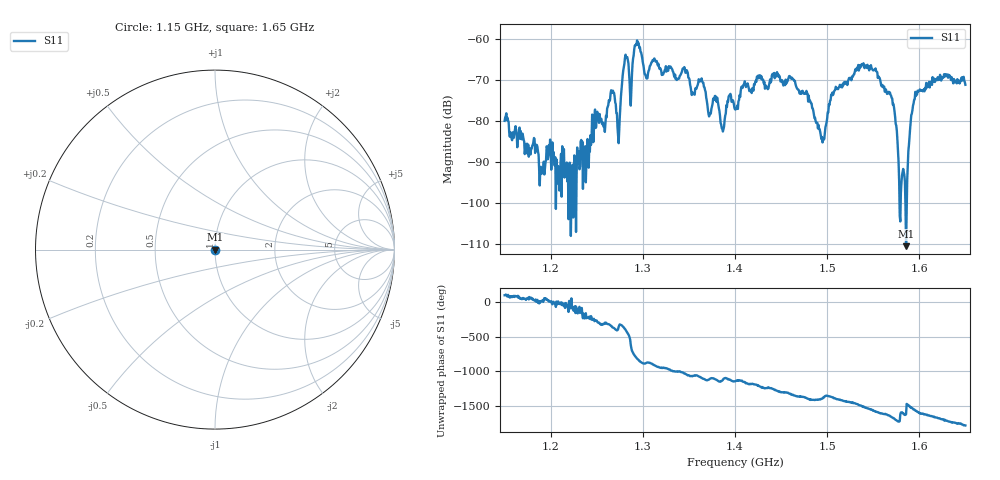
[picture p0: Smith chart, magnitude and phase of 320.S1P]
! C:\Users\rflab\Downloads\Lab5_KD_ZW\Q2\320.S1P
! Touchstone 1.1 file saved by VNA.EXE V1.65 (www.ke5fx.com/gpib/readme.htm)
! 11/12/2024 1:32:26 AM
!  Source: HEWLETT PACKARD,8753D,0,6.14
!  Min freq: 1.150000E+009 Hz
!  Max freq: 1.650000E+009 Hz
!  Points: 801
!  Params: S21
# GHZ S RI R 50
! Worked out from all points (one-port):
!   801 points, 1.15 GHz to 1.65 GHz, reference 50 ohm
!   lowest |S11| = -110.5 dB at 1.586 GHz (marker M1), VSWR 1.00, Z = 50 + j0 ohm
!   |S11| at or under -10 dB: start of sweep to end of sweep
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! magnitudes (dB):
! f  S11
! 1.15 GHz  -79.9
! 1.212 GHz  -86.1
! 1.258 GHz  -80.9
! 1.267 GHz  -72.9
! 1.275 GHz  -78.8
! 1.281 GHz  -64.5
! 1.288 GHz  -72.6
! 1.293 GHz  -61.4
! 1.304 GHz  -69.5
! 1.312 GHz  -64.7
! 1.337 GHz  -69.6
! 1.363 GHz  -70.1
! 1.372 GHz  -78.8
! 1.379 GHz  -73.8
! 1.386 GHz  -81.7
! 1.393 GHz  -73.9
! 1.4 GHz  -77.1
! 1.426 GHz  -68.8
! 1.462 GHz  -69.7
! 1.497 GHz  -84.3
! 1.507 GHz  -73.3
! 1.525 GHz  -69.6
! 1.55 GHz  -67.6
! 1.586 GHz  -110.5
! 1.587 GHz  -90.3
! 1.598 GHz  -72.5
! 1.614 GHz  -69.2
! 1.65 GHz  -71.1
